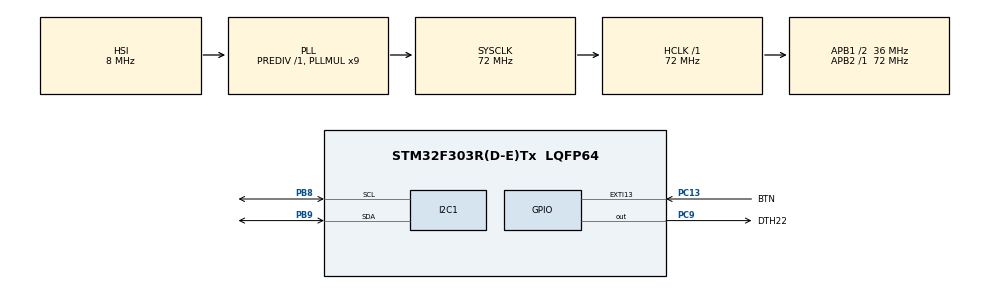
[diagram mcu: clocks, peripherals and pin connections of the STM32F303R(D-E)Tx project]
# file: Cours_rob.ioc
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FREERTOS.Tasks01=defaultTask,0,128,StartDefaultTask,Default,NULL,Dynamic,NULL,NULL;myTask02,-3,128,StartTask02,Default,NULL,Dynamic,NULL,NULL;myTask03,-3,128,StartTask03,Default,NULL,Dynamic,NULL,NULL
FREERTOS.configTOTAL_HEAP_SIZE=10000
FREERTOS.configUSE_NEWLIB_REENTRANT=1
Mcu.Family=STM32F3
Mcu.Name=STM32F303R(D-E)Tx
Mcu.Package=LQFP64
NVIC.EXTI15_10_IRQn=true\:5\:0\:false\:false\:true\:true\:true\:true\:true
NVIC.FLASH_IRQn=true\:5\:0\:false\:false\:true\:true\:true\:true\:true
NVIC.FPU_IRQn=true\:5\:0\:false\:false\:true\:true\:true\:false\:true
NVIC.I2C1_ER_IRQn=true\:5\:0\:false\:false\:true\:true\:true\:true\:true
NVIC.I2C1_EV_IRQn=true\:5\:0\:false\:false\:true\:true\:true\:true\:true
NVIC.PVD_IRQn=true\:5\:0\:false\:false\:true\:true\:true\:true\:true
NVIC.PriorityGroup=NVIC_PRIORITYGROUP_4
NVIC.RCC_IRQn=true\:5\:0\:false\:false\:true\:true\:true\:false\:true
NVIC.TIM2_IRQn=true\:5\:0\:false\:false\:true\:true\:true\:true\:true
NVIC.TIM6_DAC_IRQn=true\:5\:0\:false\:false\:true\:true\:true\:true\:true
NVIC.TIM7_IRQn=true\:15\:0\:false\:false\:true\:false\:false\:true\:true
NVIC.TimeBase=TIM7_IRQn
NVIC.TimeBaseIP=TIM7
PA13.Mode=Serial_Wire
PA13.Signal=SYS_JTMS-SWDIO
PA14.Mode=Serial_Wire
PA14.Signal=SYS_JTCK-SWCLK
PB8.Mode=I2C
PB8.Signal=I2C1_SCL
PB9.Mode=I2C
PB9.Signal=I2C1_SDA
PC13.GPIO_Label=BTN
PC13.Signal=GPXTI13
PC9.GPIO_Label=DTH22
PC9.Signal=GPIO_Output
PF0-OSC_IN.Mode=HSE-External-Oscillator
PF0-OSC_IN.Signal=RCC_OSC_IN
PF1-OSC_OUT.Mode=HSE-External-Oscillator
PF1-OSC_OUT.Signal=RCC_OSC_OUT
ProjectManager.HeapSize=0x200
ProjectManager.StackSize=0x400
ProjectManager.TargetToolchain=STM32CubeIDE
RCC.AHBFreq_Value=72000000
RCC.APB1CLKDivider=RCC_HCLK_DIV2
RCC.APB1Freq_Value=36000000
RCC.APB1TimFreq_Value=72000000
RCC.APB2Freq_Value=72000000
RCC.APB2TimFreq_Value=72000000
RCC.CortexFreq_Value=72000000
RCC.HCLKFreq_Value=72000000
RCC.HSE_VALUE=8000000
RCC.HSI_VALUE=8000000
RCC.LSE_VALUE=32768
RCC.PLLMUL=RCC_PLL_MUL9
RCC.SYSCLKFreq_VALUE=72000000
RCC.SYSCLKSourceVirtual=RCC_SYSCLKSOURCE_PLLCLK
RCC.USBFreq_Value=72000000
TIM2.Period=7158599
TIM2.Prescaler=599
TIM6.Prescaler=71
VP_FREERTOS_VS_CMSIS_V1.Mode=CMSIS_V1
VP_SYS_VS_tim7.Mode=TIM7
VP_TIM2_VS_ClockSourceINT.Mode=Internal
VP_TIM6_VS_ClockSourceINT.Mode=Enable_Timer
board=custom

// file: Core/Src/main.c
/* USER CODE BEGIN Header */
/**
  ******************************************************************************
  * @file           : main.c
  * @brief          : Main program body
  ******************************************************************************
  * @attention
  *
  * Copyright (c) 2024 STMicroelectronics.
  * All rights reserved.
  *
  * This software is licensed under terms that can be found in the LICENSE file
  * in the root directory of this software component.
  * If no LICENSE file comes with this software, it is provided AS-IS.
  *
  ******************************************************************************
  */
/* USER CODE END Header */
#include "main.h"
#include "cmsis_os.h"

/* USER CODE BEGIN Includes */
#include "lcd.h"
#include "structures.h"
#include "math.h"
#include "stdio.h"
/* USER CODE END Includes */

/* USER CODE BEGIN PD */
#define TRUE 1
#define FALSE 0
/* USER CODE END PD */

I2C_HandleTypeDef hi2c1;
TIM_HandleTypeDef htim2;
TIM_HandleTypeDef htim6;

osThreadId defaultTaskHandle;
osThreadId myTask02Handle;
osThreadId myTask03Handle;

void SystemClock_Config(void);
static void MX_GPIO_Init(void);
static void MX_TIM6_Init(void);
static void MX_I2C1_Init(void);
static void MX_TIM2_Init(void);
void StartDefaultTask(void const * argument);
void StartTask02(void const * argument);
void StartTask03(void const * argument);

/* USER CODE BEGIN 0 */
void microDelay (uint16_t delay)
{
  __HAL_TIM_SET_COUNTER(&htim6, 0);
  while (__HAL_TIM_GET_COUNTER(&htim6) < delay);
}
uint8_t RH1, RH2, TC1, TC2, SUM, CHECK,clear,flag = 0;
char humidity_buffer[20],temp_buffer[20];
uint32_t pMillis, cMillis;
int tCelsius = 0;
int tFahrenheit = 0;
int RH = 0;
int Temperature = 0;
int Humidity = 0;
uint8_t Presence = 0;
int arr_temp[60];
int arr_humidity[60];
int i = 0;
int mode;
int max_temp;
int max_humidity;
int min_temp;
int min_humidity;
int average_humidity_value;
int max_deviation_humidity;
int max_deviation_temp;
int average_temp_value;

uint8_t DHT22_Start (void)
{
  uint8_t Response = 0;
  GPIO_InitTypeDef GPIO_InitStructPrivate = {0};
  GPIO_InitStructPrivate.Pin = DTH22_Pin;
  GPIO_InitStructPrivate.Mode = GPIO_MODE_OUTPUT_PP;
  GPIO_InitStructPrivate.Speed = GPIO_SPEED_FREQ_LOW;
  GPIO_InitStructPrivate.Pull = GPIO_NOPULL;
  HAL_GPIO_Init(GPIOC, &GPIO_InitStructPrivate); // set the pin as output
  HAL_GPIO_WritePin (GPIOC, DTH22_Pin, 0);   // pull the pin low
  microDelay (1300);   // wait for 1300us
  HAL_GPIO_WritePin (GPIOC, DTH22_Pin, 1);   // pull the pin high
  microDelay (30);   // wait for 30us
  GPIO_InitStructPrivate.Mode = GPIO_MODE_INPUT;
  GPIO_InitStructPrivate.Pull = GPIO_PULLUP;
  HAL_GPIO_Init(GPIOC, &GPIO_InitStructPrivate); // set the pin as input
  microDelay (40);
  if (!(HAL_GPIO_ReadPin (GPIOC, DTH22_Pin)))
  {
    microDelay (80);
    if ((HAL_GPIO_ReadPin (GPIOC, DTH22_Pin))) Response = 1;
  }
  pMillis = HAL_GetTick();
  cMillis = HAL_GetTick();
  while ((HAL_GPIO_ReadPin (GPIOC, DTH22_Pin)) && pMillis + 2 > cMillis)
  {
    cMillis = HAL_GetTick();
  }
  return Response;
}

uint8_t DHT22_Read (void)
{
  uint8_t a,b;
  for (a=0;a<8;a++)
  {
    pMillis = HAL_GetTick();
    cMillis = HAL_GetTick();
    while (!(HAL_GPIO_ReadPin (GPIOC, DTH22_Pin)) && pMillis + 2 > cMillis)
    {  // wait for the pin to go high
      cMillis = HAL_GetTick();
    }
    microDelay (40);   // wait for 40 us
    if (!(HAL_GPIO_ReadPin (GPIOC, DTH22_Pin)))   // if the pin is low
      b&= ~(1<<(7-a));
    else
      b|= (1<<(7-a));
    pMillis = HAL_GetTick();
    cMillis = HAL_GetTick();
    while ((HAL_GPIO_ReadPin (GPIOC, DTH22_Pin)) && pMillis + 2 > cMillis)
    {  // wait for the pin to go low
      cMillis = HAL_GetTick();
    }
  }
  return b;
}

void Show_Climat()
{
	lcdPutCur(0, 0);
	lcdSendString("Temp: ");
	sprintf(temp_buffer, "%dC", tCelsius);
	lcdSendString(temp_buffer);
	lcdPutCur(1, 0);
	lcdSendString("Humidity: ");
	sprintf (humidity_buffer, "%d%c", RH,'%');
	lcdSendString(humidity_buffer);
}

void DTH22_Work(){
	if(DHT22_Start())
		      {
		        RH1 = DHT22_Read(); // First 8bits of humidity
		        RH2 = DHT22_Read(); // Second 8bits of Relative humidity
		        TC1 = DHT22_Read(); // First 8bits of Celsius
		        TC2 = DHT22_Read(); // Second 8bits of Celsius
		        SUM = DHT22_Read(); // Check sum
		        CHECK = RH1 + RH2 + TC1 + TC2;
		        if (CHECK == SUM)
		        {
		          if (TC1>127) // If TC1=10000000, negative temperature
		          {
		            tCelsius = (float)TC2/10*(-1);
		          }
		          else
		          {
		            tCelsius = (float)((TC1<<8)|TC2)/10;
		          }
		          tFahrenheit = tCelsius * 9/5 + 32;
		          RH = (float) ((RH1<<8)|RH2)/10;
		          if(i == 0){
		          		arr_temp[i] = tCelsius;
		          		arr_humidity[i] = RH;
		                  i++;
		          		}
		        }
		      }

}
void HAL_GPIO_EXTI_Callback(uint16_t GPIO_Pin)
{
	clear = TRUE;
	flag = (flag+1)%2;

}
void calculate_deviation_value()
{
	   float sum_temp_value = arr_temp[0];
	   float sum_humidity_value = arr_humidity[0];
		 max_temp = arr_temp[0];
		 max_humidity = arr_humidity[0];
		 min_temp = arr_temp[0];
		 min_humidity = arr_humidity[0];

	   for(int b = 1;b<i;b++){

			if(max_temp<arr_temp[b]){
				max_temp = arr_temp[b];
				}
			if (min_temp>arr_temp[b]){
				min_temp = arr_temp[b];
				}
			if(max_humidity<arr_humidity[b]){
				max_humidity = arr_humidity[b];
				}
			if(min_humidity>arr_humidity[b]){
				min_humidity = arr_humidity[b];
				}
			sum_temp_value += arr_temp[b];
			sum_humidity_value += arr_humidity[b];
			}
	    average_temp_value = sum_temp_value/i;
		average_humidity_value = sum_humidity_value/i;

		if(fabs(average_temp_value - max_temp)>(average_temp_value - min_temp)){
			 max_deviation_temp = fabs(average_temp_value - max_temp);
		} else  max_deviation_temp = average_temp_value - min_temp;

		if(fabs(average_humidity_value - max_humidity)>(average_humidity_value - min_humidity)){
			   max_deviation_humidity = fabs(average_humidity_value - max_humidity);
		} else max_deviation_humidity = average_humidity_value - min_humidity;

}
void second_screen(){
	calculate_deviation_value();
	lcdPutCur(0, 0);
	lcdSendString("dev_t:");
	sprintf(temp_buffer, "%dC", max_deviation_temp);
	lcdSendString(temp_buffer);

	lcdPutCur(1, 0);
	lcdSendString("dev_h:");
	sprintf (humidity_buffer, "%d%c", max_deviation_humidity,'%');
	lcdSendString(humidity_buffer);

}
/* USER CODE END 0 */

int main(void)
{
  /* USER CODE BEGIN 1 */
	//vTaskStartScheduler();
  /* USER CODE END 1 */

  /* MCU Configuration--------------------------------------------------------*/

  /* Reset of all peripherals, Initializes the Flash interface and the Systick. */
  HAL_Init();

  /* Configure the system clock */
  SystemClock_Config();

  /* Initialize all configured peripherals */
  MX_GPIO_Init();
  MX_TIM6_Init();
  MX_I2C1_Init();
  MX_TIM2_Init();
  /* USER CODE BEGIN 2 */
  lcdInit();
  HAL_TIM_Base_Start(&htim6);
  HAL_TIM_Base_Start_IT(&htim2);
  /* USER CODE END 2 */

  /* Create the thread(s) */
  /* definition and creation of defaultTask */
  osThreadDef(defaultTask, StartDefaultTask, osPriorityNormal, 2, 128);
  defaultTaskHandle = osThreadCreate(osThread(defaultTask), NULL);

  /* definition and creation of myTask02 */
  osThreadDef(myTask02, StartTask02, osPriorityIdle, 1, 128);
  myTask02Handle = osThreadCreate(osThread(myTask02), NULL);

  /* definition and creation of myTask03 */
  osThreadDef(myTask03, StartTask03, osPriorityIdle, 0, 128);
  myTask03Handle = osThreadCreate(osThread(myTask03), NULL);

  /* Start scheduler */
  osKernelStart();

  /* We should never get here as control is now taken by the scheduler */
  /* Infinite loop */
  while (1)
  {

  }
}

void SystemClock_Config(void)
{
  RCC_OscInitTypeDef RCC_OscInitStruct = {0};
  RCC_ClkInitTypeDef RCC_ClkInitStruct = {0};
  RCC_PeriphCLKInitTypeDef PeriphClkInit = {0};

  /** Initializes the RCC Oscillators according to the specified parameters
  * in the RCC_OscInitTypeDef structure.
  */
  RCC_OscInitStruct.OscillatorType = RCC_OSCILLATORTYPE_HSI;
  RCC_OscInitStruct.HSIState = RCC_HSI_ON;
  RCC_OscInitStruct.HSICalibrationValue = RCC_HSICALIBRATION_DEFAULT;
  RCC_OscInitStruct.PLL.PLLState = RCC_PLL_ON;
  RCC_OscInitStruct.PLL.PLLSource = RCC_PLLSOURCE_HSI;
  RCC_OscInitStruct.PLL.PLLMUL = RCC_PLL_MUL9;
  RCC_OscInitStruct.PLL.PREDIV = RCC_PREDIV_DIV1;
  if (HAL_RCC_OscConfig(&RCC_OscInitStruct) != HAL_OK)
  {
    Error_Handler();
  }

  /** Initializes the CPU, AHB and APB buses clocks
  */
  RCC_ClkInitStruct.ClockType = RCC_CLOCKTYPE_HCLK|RCC_CLOCKTYPE_SYSCLK
                              |RCC_CLOCKTYPE_PCLK1|RCC_CLOCKTYPE_PCLK2;
  RCC_ClkInitStruct.SYSCLKSource = RCC_SYSCLKSOURCE_PLLCLK;
  RCC_ClkInitStruct.AHBCLKDivider = RCC_SYSCLK_DIV1;
  RCC_ClkInitStruct.APB1CLKDivider = RCC_HCLK_DIV2;
  RCC_ClkInitStruct.APB2CLKDivider = RCC_HCLK_DIV1;

  if (HAL_RCC_ClockConfig(&RCC_ClkInitStruct, FLASH_LATENCY_2) != HAL_OK)
  {
    Error_Handler();
  }
  PeriphClkInit.PeriphClockSelection = RCC_PERIPHCLK_I2C1|RCC_PERIPHCLK_TIM2;
  PeriphClkInit.I2c1ClockSelection = RCC_I2C1CLKSOURCE_HSI;
  PeriphClkInit.Tim2ClockSelection = RCC_TIM2CLK_HCLK;
  if (HAL_RCCEx_PeriphCLKConfig(&PeriphClkInit) != HAL_OK)
  {
    Error_Handler();
  }
}

static void MX_I2C1_Init(void)
{

  hi2c1.Instance = I2C1;
  hi2c1.Init.Timing = 0x2000090E;
  hi2c1.Init.OwnAddress1 = 0;
  hi2c1.Init.AddressingMode = I2C_ADDRESSINGMODE_7BIT;
  hi2c1.Init.DualAddressMode = I2C_DUALADDRESS_DISABLE;
  hi2c1.Init.OwnAddress2 = 0;
  hi2c1.Init.OwnAddress2Masks = I2C_OA2_NOMASK;
  hi2c1.Init.GeneralCallMode = I2C_GENERALCALL_DISABLE;
  hi2c1.Init.NoStretchMode = I2C_NOSTRETCH_DISABLE;
  if (HAL_I2C_Init(&hi2c1) != HAL_OK)
  {
    Error_Handler();
  }

  /** Configure Analogue filter
  */
  if (HAL_I2CEx_ConfigAnalogFilter(&hi2c1, I2C_ANALOGFILTER_ENABLE) != HAL_OK)
  {
    Error_Handler();
  }

  /** Configure Digital filter
  */
  if (HAL_I2CEx_ConfigDigitalFilter(&hi2c1, 0) != HAL_OK)
  {
    Error_Handler();
  }

}

static void MX_TIM2_Init(void)
{

  TIM_ClockConfigTypeDef sClockSourceConfig = {0};
  TIM_MasterConfigTypeDef sMasterConfig = {0};

  htim2.Instance = TIM2;
  htim2.Init.Prescaler = 599;
  htim2.Init.CounterMode = TIM_COUNTERMODE_UP;
  htim2.Init.Period = 7158599;
  htim2.Init.ClockDivision = TIM_CLOCKDIVISION_DIV1;
  htim2.Init.AutoReloadPreload = TIM_AUTORELOAD_PRELOAD_DISABLE;
  if (HAL_TIM_Base_Init(&htim2) != HAL_OK)
  {
    Error_Handler();
  }
  sClockSourceConfig.ClockSource = TIM_CLOCKSOURCE_INTERNAL;
  if (HAL_TIM_ConfigClockSource(&htim2, &sClockSourceConfig) != HAL_OK)
  {
    Error_Handler();
  }
  sMasterConfig.MasterOutputTrigger = TIM_TRGO_RESET;
  sMasterConfig.MasterSlaveMode = TIM_MASTERSLAVEMODE_DISABLE;
  if (HAL_TIMEx_MasterConfigSynchronization(&htim2, &sMasterConfig) != HAL_OK)
  {
    Error_Handler();
  }

}

static void MX_TIM6_Init(void)
{

  TIM_MasterConfigTypeDef sMasterConfig = {0};

  htim6.Instance = TIM6;
  htim6.Init.Prescaler = 71;
  htim6.Init.CounterMode = TIM_COUNTERMODE_UP;
  htim6.Init.Period = 65535;
  htim6.Init.AutoReloadPreload = TIM_AUTORELOAD_PRELOAD_DISABLE;
  if (HAL_TIM_Base_Init(&htim6) != HAL_OK)
  {
    Error_Handler();
  }
  sMasterConfig.MasterOutputTrigger = TIM_TRGO_RESET;
  sMasterConfig.MasterSlaveMode = TIM_MASTERSLAVEMODE_DISABLE;
  if (HAL_TIMEx_MasterConfigSynchronization(&htim6, &sMasterConfig) != HAL_OK)
  {
    Error_Handler();
  }

}

static void MX_GPIO_Init(void)
{
  GPIO_InitTypeDef GPIO_InitStruct = {0};

  /* GPIO Ports Clock Enable */
  __HAL_RCC_GPIOC_CLK_ENABLE();
  __HAL_RCC_GPIOF_CLK_ENABLE();
  __HAL_RCC_GPIOA_CLK_ENABLE();
  __HAL_RCC_GPIOB_CLK_ENABLE();

  /*Configure GPIO pin Output Level */
  HAL_GPIO_WritePin(DTH22_GPIO_Port, DTH22_Pin, GPIO_PIN_RESET);

  /*Configure GPIO pin : BTN_Pin */
  GPIO_InitStruct.Pin = BTN_Pin;
  GPIO_InitStruct.Mode = GPIO_MODE_IT_RISING;
  GPIO_InitStruct.Pull = GPIO_NOPULL;
  HAL_GPIO_Init(BTN_GPIO_Port, &GPIO_InitStruct);

  /*Configure GPIO pin : DTH22_Pin */
  GPIO_InitStruct.Pin = DTH22_Pin;
  GPIO_InitStruct.Mode = GPIO_MODE_OUTPUT_PP;
  GPIO_InitStruct.Pull = GPIO_NOPULL;
  GPIO_InitStruct.Speed = GPIO_SPEED_FREQ_LOW;
  HAL_GPIO_Init(DTH22_GPIO_Port, &GPIO_InitStruct);

  /* EXTI interrupt init*/
  HAL_NVIC_SetPriority(EXTI15_10_IRQn, 5, 0);
  HAL_NVIC_EnableIRQ(EXTI15_10_IRQn);

}

void StartDefaultTask(void const * argument)
{
  /* USER CODE BEGIN 5 */
  /* Infinite loop */
  for(;;)
  {
	DTH22_Work();
	vTaskDelay(100);
  }
  /* USER CODE END 5 */
}

void StartTask02(void const * argument)
{
  /* USER CODE BEGIN StartTask02 */
  /* Infinite loop */
  for(;;)
  {
	  if(clear){
		  lcdClear();
		  clear = FALSE;
	  }
		if(flag == 0){
		Show_Climat();
		}
		else if(flag == 1){
		second_screen();
		}
		vTaskDelay(1);

  }
  /* USER CODE END StartTask02 */
}

void StartTask03(void const * argument)
{
  for(;;)
  {
  }
}

void HAL_TIM_PeriodElapsedCallback(TIM_HandleTypeDef *htim)
{
    if (htim->Instance == TIM2 && i>0){
	arr_temp[i] = tCelsius;
	arr_humidity[i] = RH;
	i = (i+1)%60;
    }
	else if (htim->Instance == TIM7){
	    HAL_IncTick();
	}
}

void Error_Handler(void)
{
  __disable_irq();
  while (1)
  {
  }
}
